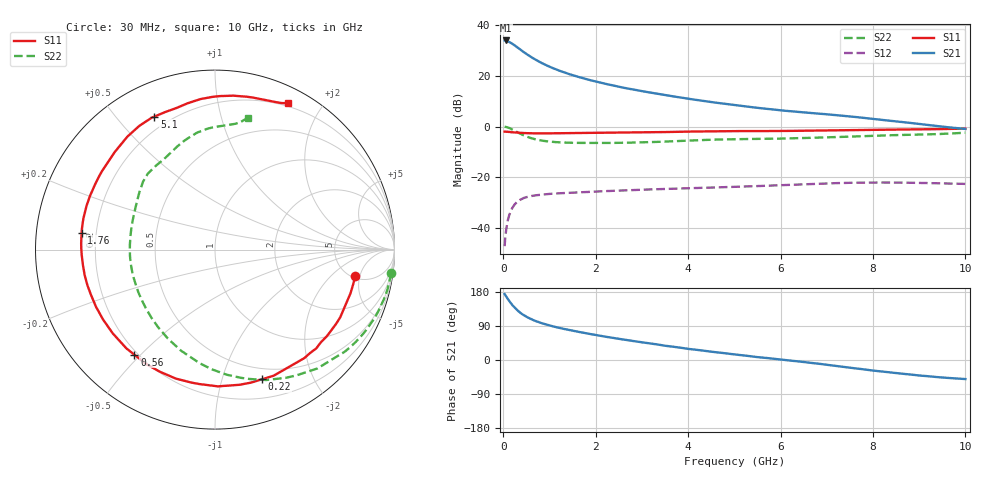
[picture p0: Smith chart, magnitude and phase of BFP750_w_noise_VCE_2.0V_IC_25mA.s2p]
! Infineon Technologies  Discrete & RF Semiconductors
! BFP750
! VCE =  2.0 V,  IC =  25 mA
! Common Emitter S-Parameters:  Jan 2016
# GHz  S  MA  R  50
!  f  S11  S21  S12  S22
! GHz  MAG  ANG  MAG  ANG  MAG  ANG  MAG  ANG
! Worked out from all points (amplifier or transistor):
!   229 points, 30 MHz to 10 GHz, reference 50 ohm
!   highest |S21| = 33.9 dB at 50 MHz (marker M1)
!   |S21| within 3 dB of that: start of sweep to 326.3 MHz
!   unconditionally stable (mu >= 1): 4.615 GHz to end of sweep
!   at 280 MHz: K = 0.12, MSG = 30.8 dB, |S12| = -30.1 dB
!   at 1.78 GHz: K = 0.56, MSG = 22.3 dB, |S12| = -25.8 dB
!   at 10 GHz: K = 1.08, MAG = 9.1 dB, |S12| = -22.6 dB
!   lowest NFmin = 0.79 dB at 450 MHz
!   S11 on the Smith chart (normalised r, x): 30 MHz: 5.32, -4.24; 220 MHz: 0.38, -1.36; 560 MHz: 0.19, -0.48; 1.76 GHz: 0.14, +0.06; 5.1 GHz: 0.14, +0.63; 10 GHz: 0.17, +1.61
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0.03  0.7954 -10.6  49.68 174.2  0.0044 84.4  0.9891 -7.6
0.05  0.7932 -17.9  49.71 169.9  0.0073 81.6  0.986 -13.0
0.08  0.7931 -28.4  48.89 164.7  0.0115 76.9  0.9726 -20.8
0.12  0.784 -41.1  47.06 157.4  0.0167 70.1  0.9456 -30.9
0.15  0.783 -50.6  45.63 152.4  0.0202 65.5  0.9208 -38.0
0.2  0.7749 -65.1  42.68 144.5  0.0253 58.8  0.8744 -49.2
0.22  0.7684 -70.0  41.41 142.0  0.0269 56.4  0.8523 -53.1
0.3  0.7621 -88.8  36.72 131.7  0.0328 48.1  0.7805 -68.6
0.4  0.7512 -106.9  31.36 121.7  0.0375 40.2  0.7008 -84.5
0.5  0.7441 -121.0  27 114.0  0.0406 34.4  0.6393 -97.6
0.56  0.7381 -127.5  24.86 110.5  0.0418 31.8  0.6091 -104.1
0.76  0.7343 -145.1  19.37 100.2  0.0448 25.4  0.5448 -122.8
1  0.7355 -159.7  15.11 91.1  0.0471 20.8  0.506 -139.3
1.3  0.7407 -172.6  11.83 82.4  0.049 17.4  0.4849 -154.2
1.7  0.7482 174.4  9.105 72.7  0.0511 14.4  0.4763 -168.7
1.76  0.7492 172.8  8.795 71.3  0.0514 14.1  0.4756 -170.5
2.42  0.758 156.7  6.312 57.4  0.0544 10.6  0.4767 171.6
3.4  0.7752 137.7  4.322 39.8  0.0587 6.3  0.5016 151.9
5.1  0.8143 114.5  2.59 13.4  0.0654 -0.8  0.5659 130.2
6.8  0.8364 97.6  1.805 -9.5  0.0746 -9.5  0.6048 111.7
8.4  0.8699 78.3  1.295 -33.2  0.0789 -22.9  0.6753 93.4
10  0.9112 63.4  0.897 -50.3  0.0742 -33.2  0.7567 76.0
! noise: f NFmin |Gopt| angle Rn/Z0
0.45  0.79  0.09  -165  0.58
0.9  0.81  0.15  -161  0.15
1.5  0.82  0.17  -161  0.11
1.9  0.83  0.19  -161  0.09
2.4  0.86  0.22  -154  0.08
3.5  1.1  0.28  -138  0.08
